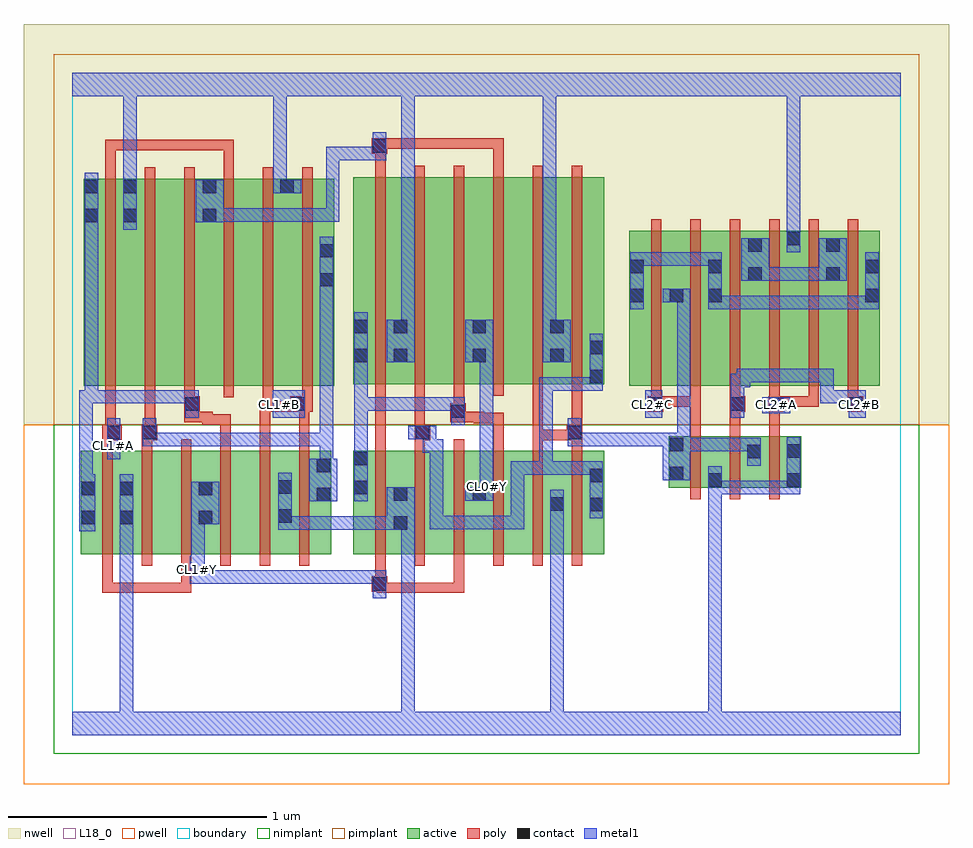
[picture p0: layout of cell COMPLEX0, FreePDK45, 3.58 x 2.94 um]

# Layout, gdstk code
import gdstk
lib = gdstk.Library(unit=1e-6, precision=1e-09)
def R(c, l, rs):  # rectangles x0, y0, x1, y1
    for r in rs: c.add(gdstk.rectangle(r[:2], r[2:], *l))
def A(c, l, x, y, w, h, nx, ny, dx, dy):  # array of equal rectangles
    R(c, l, [(x+i*dx, y+j*dy, x+i*dx+w, y+j*dy+h) for i in range(nx) for j in range(ny)])
active = (1, 0)
pwell = (2, 0)
nwell = (3, 0)
nimplant = (4, 0)
pimplant = (5, 0)
poly = (9, 0)
contact = (10, 0)
metal1 = (11, 0)
L18_0 = (18, 0)
boundary = (235, 0)

complex0 = lib.new_cell('COMPLEX0')
R(complex0, active, [(0.032,0.7,0.092,1.1), (0.032,0.7,0.24,1.1), (0.18,0.7,0.24,1.1), (0.18,0.7,0.364,1.1), (0.364,0.7,0.544,1.1), (0.484,0.7,0.668,1.1), (0.668,0.7,0.852,1.1), (0.792,0.7,1,1.1), (0.792,0.7,0.852,0.996), (1.086,0.7,1.298,1.1), (1.238,0.7,1.418,1.1), (1.238,0.7,1.298,0.962), (1.418,0.7,1.602,1.1), (1.542,0.7,1.722,1.1), (1.722,0.7,1.902,1.1), (1.842,0.7,2.054,1.1), (1.994,0.7,2.054,1.1), (0.484,0.756,0.544,1.1), (0.94,0.756,1,1.1), (1.086,0.756,1.146,1.1), (1.542,0.756,1.602,0.962), (1.842,0.756,1.902,0.924), (2.304,0.956,2.364,1.156), (2.304,0.956,2.512,1.156), (2.452,0.956,2.664,1.156), (2.452,0.956,2.512,1.016), (2.604,0.956,2.816,1.156), (2.604,0.956,2.664,1.126), (2.756,0.956,2.816,1.156), (0.044,1.35,0.104,2.15), (0.044,1.35,0.252,2.15), (0.192,1.35,0.376,2.15), (0.192,1.35,0.252,2.15), (0.376,1.35,0.56,2.15), (0.5,1.35,0.68,2.15), (0.5,1.35,0.56,2.15), (0.68,1.35,0.86,2.15), (0.8,1.35,1.012,2.15), (0.8,1.35,0.86,2.15), (0.952,1.35,1.012,2.044), (2.152,1.35,2.364,1.95), (2.152,1.35,2.212,1.95), (2.304,1.35,2.512,1.95), (2.452,1.35,2.668,1.95), (2.452,1.35,2.512,1.95), (2.608,1.35,2.816,1.95), (2.756,1.35,2.968,1.95), (2.908,1.35,3.12,1.95), (3.06,1.35,3.12,1.922), (1.086,1.356,1.146,2.044), (1.086,1.356,1.298,2.156), (1.238,1.356,1.418,2.156), (1.418,1.356,1.602,2.156), (1.542,1.356,1.602,2.044), (1.542,1.356,1.722,2.156), (1.722,1.356,1.902,2.156), (1.842,1.356,2.054,2.156), (1.994,1.356,2.054,2.044), (1.842,1.432,1.902,2.044), (1.238,1.438,1.298,2.156), (2.304,1.664,2.364,1.95), (2.608,1.74,2.668,1.95), (2.908,1.746,2.968,1.924), (2.756,1.844,2.816,1.95)])
R(complex0, pwell, [(-0.188,-0.188,3.388,1.2)])
R(complex0, nwell, [(-0.188,1.2,3.388,2.748)])
R(complex0, nimplant, [(-0.072,-0.072,3.272,1.2)])
R(complex0, pimplant, [(-0.072,1.2,3.272,2.632)])
A(complex0, poly, 0.116, 0.656, 0.04, 0.488, 6, 1, 0.152, 0)
A(complex0, poly, 1.17, 0.656, 0.04, 0.488, 6, 1, 0.152, 0)
A(complex0, poly, 2.388, 0.912, 0.04, 0.288, 3, 1, 0.152, 0)
A(complex0, poly, 2.236, 1.27, 0.04, 0.076, 6, 1, 0.152, 0)
A(complex0, poly, 0.128, 1.306, 0.04, 0.888, 6, 1, 0.152, 0)
A(complex0, poly, 2.236, 1.306, 0.04, 0.688, 6, 1, 0.152, 0)
A(complex0, poly, 1.17, 1.312, 0.04, 0.888, 6, 1, 0.152, 0)
R(complex0, poly, [(0.116,0.55,0.156,0.59), (0.116,0.55,0.156,0.696), (0.116,0.55,0.274,0.59), (0.234,0.55,0.274,0.59), (0.234,0.55,0.274,0.59), (0.234,0.55,0.274,0.59), (0.234,0.55,0.436,0.59), (0.396,0.55,0.436,0.59), (0.396,0.55,0.46,0.59), (0.42,0.55,0.46,0.59), (0.42,0.55,0.46,0.696), (1.176,0.55,1.216,0.594), (1.176,0.55,1.322,0.59), (1.282,0.55,1.322,0.59), (1.282,0.55,1.322,0.59), (1.282,0.55,1.322,0.59), (1.282,0.55,1.514,0.59), (1.474,0.55,1.514,0.59), (1.474,0.55,1.514,0.696), (1.156,0.554,1.216,0.614), (1.176,0.554,1.216,0.594), (1.17,0.574,1.21,0.696), (0.116,1.104,0.156,1.18), (0.268,1.104,0.308,1.18), (0.572,1.104,0.612,1.24), (0.724,1.104,0.764,1.29), (0.876,1.104,0.916,1.29), (1.17,1.104,1.21,1.316), (1.322,1.104,1.362,1.18), (1.626,1.104,1.666,1.246), (1.778,1.104,1.818,1.18), (1.93,1.104,1.97,1.18), (0.116,1.14,0.19,1.2), (0.268,1.14,0.328,1.2), (1.322,1.14,1.382,1.2), (1.778,1.14,1.818,1.18), (1.778,1.14,1.818,1.18), (1.778,1.14,1.818,1.18), (1.778,1.14,1.818,1.18), (1.778,1.14,1.818,1.18), (1.778,1.14,1.95,1.18), (1.778,1.14,1.818,1.352), (1.91,1.14,1.97,1.2), (0.128,1.16,0.168,1.2), (0.128,1.16,0.168,1.2), (0.128,1.16,0.168,1.346), (0.28,1.16,0.32,1.2), (0.28,1.16,0.32,1.2), (0.28,1.16,0.32,1.346), (1.322,1.16,1.362,1.2), (1.322,1.16,1.362,1.2), (1.322,1.16,1.362,1.352), (1.93,1.16,1.97,1.2), (1.93,1.16,1.97,1.2), (1.93,1.16,1.97,1.352), (2.388,1.16,2.428,1.31), (2.54,1.16,2.58,1.29), (2.692,1.16,2.732,1.29), (0.502,1.2,0.612,1.24), (0.502,1.2,0.542,1.25), (0.572,1.2,0.612,1.24), (0.572,1.2,0.612,1.24), (0.572,1.2,0.612,1.24), (1.55,1.206,1.666,1.246), (1.55,1.206,1.59,1.25), (1.626,1.206,1.666,1.246), (1.626,1.206,1.666,1.246), (1.626,1.206,1.666,1.246), (0.432,1.21,0.492,1.31), (0.452,1.21,0.542,1.25), (1.46,1.21,1.52,1.282), (1.48,1.21,1.59,1.25), (1.474,1.242,1.514,1.352), (0.724,1.25,0.776,1.29), (0.736,1.25,0.776,1.29), (0.736,1.25,0.776,1.29), (0.736,1.25,0.916,1.29), (0.736,1.25,0.776,1.346), (0.842,1.25,0.928,1.31), (0.876,1.25,0.916,1.29), (0.876,1.25,0.916,1.29), (0.876,1.25,0.916,1.29), (0.876,1.25,0.916,1.29), (2.222,1.25,2.282,1.31), (2.54,1.25,2.6,1.31), (2.54,1.25,2.58,1.29), (2.54,1.25,2.58,1.29), (2.69,1.25,2.75,1.31), (2.996,1.25,3.056,1.31), (0.432,1.27,0.472,1.346), (0.888,1.27,0.928,1.346), (2.242,1.27,2.282,1.31), (2.242,1.27,2.282,1.31), (2.242,1.27,2.428,1.31), (2.388,1.27,2.428,1.31), (2.388,1.27,2.428,1.31), (2.388,1.27,2.428,1.31), (2.692,1.27,2.732,1.31), (2.692,1.27,2.732,1.31), (2.692,1.27,2.884,1.31), (2.844,1.27,2.884,1.31), (2.844,1.27,2.884,1.31), (2.844,1.27,2.884,1.31), (1.17,1.276,1.21,1.352), (1.17,1.276,1.21,1.316), (1.17,1.276,1.21,1.316), (1.17,1.276,1.21,1.316), (0.128,2.154,0.168,2.3), (0.584,2.154,0.624,2.3), (1.17,2.16,1.21,2.286), (1.626,2.16,1.666,2.306), (1.156,2.246,1.216,2.306), (0.128,2.26,0.168,2.3), (0.128,2.26,0.274,2.3), (0.234,2.26,0.274,2.3), (0.234,2.26,0.274,2.3), (0.234,2.26,0.274,2.3), (0.234,2.26,0.436,2.3), (0.396,2.26,0.436,2.3), (0.396,2.26,0.436,2.3), (0.396,2.26,0.436,2.3), (0.396,2.26,0.624,2.3), (0.584,2.26,0.624,2.3), (0.584,2.26,0.624,2.3), (0.584,2.26,0.624,2.3), (1.176,2.266,1.216,2.306), (1.176,2.266,1.216,2.306), (1.176,2.266,1.322,2.306), (1.282,2.266,1.322,2.306), (1.282,2.266,1.322,2.306), (1.282,2.266,1.322,2.306), (1.282,2.266,1.5,2.306), (1.46,2.266,1.5,2.306), (1.46,2.266,1.666,2.306), (1.626,2.266,1.666,2.306), (1.626,2.266,1.666,2.306), (1.626,2.266,1.666,2.306)])
R(complex0, contact, [(1.16,0.558,1.212,0.61), (1.242,0.794,1.294,0.846), (0.036,0.816,0.088,0.868), (0.184,0.816,0.236,0.868), (0.488,0.816,0.54,0.868), (0.796,0.822,0.848,0.874), (1.998,0.866,2.05,0.918), (1.846,0.868,1.898,0.92), (0.944,0.904,0.996,0.956), (1.242,0.906,1.294,0.958), (1.546,0.906,1.598,0.958), (0.036,0.928,0.088,0.98), (0.184,0.928,0.236,0.98), (0.488,0.928,0.54,0.98), (1.09,0.932,1.142,0.984), (0.796,0.934,0.848,0.986), (2.456,0.96,2.508,1.012), (2.76,0.96,2.812,1.012), (1.998,0.978,2.05,1.03), (2.308,0.986,2.36,1.038), (0.944,1.016,0.996,1.068), (1.09,1.044,1.142,1.096), (2.608,1.07,2.66,1.122), (2.76,1.072,2.812,1.124), (2.308,1.098,2.36,1.15), (0.134,1.144,0.186,1.196), (0.272,1.144,0.324,1.196), (1.326,1.144,1.378,1.196), (1.914,1.144,1.966,1.196), (1.464,1.226,1.516,1.278), (0.436,1.254,0.488,1.306), (0.846,1.254,0.898,1.306), (2.226,1.254,2.278,1.306), (2.544,1.254,2.596,1.306), (2.694,1.254,2.746,1.306), (3,1.254,3.052,1.306), (1.998,1.36,2.05,1.412), (1.09,1.442,1.142,1.494), (1.242,1.442,1.294,1.494), (1.546,1.442,1.598,1.494), (1.846,1.442,1.898,1.494), (1.998,1.472,2.05,1.524), (1.09,1.554,1.142,1.606), (1.242,1.554,1.294,1.606), (1.546,1.554,1.598,1.606), (1.846,1.554,1.898,1.606), (2.156,1.674,2.208,1.726), (2.308,1.674,2.36,1.726), (2.456,1.674,2.508,1.726), (3.064,1.674,3.116,1.726), (0.956,1.734,1.008,1.786), (2.612,1.756,2.664,1.808), (2.912,1.756,2.964,1.808), (2.156,1.786,2.208,1.838), (2.456,1.786,2.508,1.838), (3.064,1.786,3.116,1.838), (0.956,1.846,1.008,1.898), (2.612,1.868,2.664,1.92), (2.912,1.868,2.964,1.92), (2.76,1.894,2.812,1.946), (0.048,1.982,0.1,2.034), (0.196,1.982,0.248,2.034), (0.504,1.982,0.556,2.034), (0.048,2.094,0.1,2.146), (0.196,2.094,0.248,2.146), (0.504,2.094,0.556,2.146), (0.804,2.094,0.856,2.146), (1.16,2.25,1.212,2.302)])
R(complex0, metal1, [(0,0,3.2,0.092), (0.184,0.04,0.236,0.092), (0.184,0.04,0.236,0.092), (0.184,0.04,0.236,0.092), (0.184,0.04,0.236,0.092), (0.184,0.04,0.236,0.092), (0.184,0.04,0.236,0.092), (0.184,0.04,0.236,0.092), (0.184,0.04,0.236,0.092), (0.184,0.04,0.236,0.092), (0.184,0.04,0.236,0.092), (0.184,0.04,0.236,0.84), (1.27,0.04,1.322,0.092), (1.27,0.04,1.322,0.092), (1.27,0.04,1.322,0.092), (1.27,0.04,1.322,0.092), (1.27,0.04,1.322,0.846), (1.846,0.04,1.898,0.092), (1.846,0.04,1.898,0.092), (1.846,0.04,1.898,0.892), (2.456,0.04,2.508,0.092), (2.456,0.04,2.508,0.092), (2.456,0.04,2.508,0.984), (1.16,0.53,1.212,0.638), (0.454,0.586,0.512,0.694), (0.46,0.586,0.544,0.638), (0.492,0.586,0.544,0.638), (0.492,0.586,0.716,0.638), (0.664,0.586,0.716,0.638), (0.664,0.586,0.716,0.638), (0.664,0.586,0.716,0.638), (0.664,0.586,0.826,0.638), (0.774,0.586,0.826,0.638), (0.774,0.586,0.826,0.638), (0.774,0.586,0.826,0.638), (0.774,0.586,1.032,0.638), (0.98,0.586,1.032,0.638), (0.98,0.586,1.032,0.638), (0.98,0.586,1.032,0.638), (0.98,0.586,1.212,0.638), (0.46,0.642,0.512,0.868), (0.026,0.788,0.088,1.008), (0.184,0.788,0.236,0.84), (0.184,0.788,0.236,0.84), (0.184,0.788,0.236,1.008), (0.796,0.794,0.848,0.846), (0.796,0.794,0.848,0.846), (0.796,0.794,0.848,1.014), (0.796,0.794,1.032,0.846), (0.98,0.794,1.032,0.846), (0.98,0.794,1.156,0.846), (1.104,0.794,1.156,0.846), (1.104,0.794,1.156,0.846), (1.104,0.794,1.156,0.846), (1.104,0.794,1.266,0.846), (1.214,0.794,1.322,0.958), (1.27,0.794,1.322,0.846), (1.27,0.794,1.322,0.846), (1.27,0.794,1.322,0.846), (1.27,0.794,1.322,0.846), (1.27,0.794,1.322,0.846), (1.27,0.794,1.322,0.846), (1.27,0.794,1.322,0.846), (1.27,0.794,1.322,0.846), (1.38,0.796,1.432,0.848), (1.38,0.796,1.542,0.848), (1.38,0.796,1.432,1.144), (1.49,0.796,1.542,0.848), (1.49,0.796,1.542,0.848), (1.49,0.796,1.542,0.848), (1.49,0.796,1.746,0.848), (1.694,0.796,1.746,0.848), (1.694,0.796,1.746,0.848), (1.694,0.796,1.746,0.848), (1.694,0.796,1.746,1.058), (0.46,0.816,0.568,0.98), (1.998,0.838,2.05,1.058), (1.846,0.84,1.898,0.892), (1.846,0.84,1.898,0.892), (1.846,0.84,1.898,0.892), (1.846,0.84,1.898,0.892), (1.846,0.84,1.898,0.892), (1.846,0.84,1.898,0.892), (1.846,0.84,1.898,0.892), (1.846,0.84,1.898,0.892), (1.846,0.84,1.898,0.892), (1.846,0.84,1.898,0.892), (1.846,0.84,1.898,0.948), (0.916,0.904,1.024,1.068), (1.09,0.904,1.142,1.124), (1.518,0.906,1.626,0.958), (1.574,0.906,1.626,0.958), (1.574,0.906,1.626,1.014), (2.456,0.932,2.508,0.984), (2.456,0.932,2.508,0.984), (2.456,0.932,2.508,0.984), (2.456,0.932,2.508,0.984), (2.456,0.932,2.508,0.984), (2.456,0.932,2.508,0.984), (2.456,0.932,2.508,0.984), (2.456,0.932,2.508,0.984), (2.456,0.932,2.508,0.984), (2.456,0.932,2.508,0.984), (2.456,0.932,2.508,0.984), (2.456,0.932,2.508,0.984), (2.456,0.932,2.508,0.984), (2.456,0.932,2.508,0.984), (2.456,0.932,2.508,0.984), (2.456,0.932,2.508,0.984), (2.456,0.932,2.508,1.04), (2.456,0.932,2.702,0.984), (2.65,0.932,2.702,0.984), (2.65,0.932,2.812,0.984), (2.76,0.932,2.812,0.984), (2.76,0.932,2.812,0.984), (2.76,0.932,2.812,1.152), (0.026,0.956,0.078,1.334), (1.574,0.962,1.626,1.014), (1.574,0.962,1.626,1.014), (1.574,0.962,1.626,1.494), (2.28,0.986,2.388,1.15), (1.694,1.006,1.746,1.058), (1.694,1.006,1.856,1.058), (1.804,1.006,1.856,1.058), (1.804,1.006,1.856,1.058), (1.804,1.006,1.856,1.058), (1.804,1.006,1.856,1.058), (1.804,1.006,1.856,1.058), (1.804,1.006,2.05,1.058), (1.804,1.006,1.856,1.384), (1.998,1.006,2.05,1.058), (1.998,1.006,2.05,1.058), (0.956,1.016,1.008,1.168), (2.608,1.042,2.66,1.15), (0.134,1.066,0.186,1.224), (1.09,1.072,1.142,1.306), (1.354,1.092,1.406,1.196), (1.354,1.092,1.432,1.144), (2.336,1.098,2.388,1.15), (2.336,1.098,2.388,1.15), (2.336,1.098,2.508,1.15), (2.336,1.098,2.388,1.168), (2.456,1.098,2.508,1.15), (2.456,1.098,2.508,1.15), (2.456,1.098,2.508,1.15), (2.456,1.098,2.66,1.15), (0.272,1.116,0.324,1.168), (0.272,1.116,0.324,1.168), (0.272,1.116,0.434,1.168), (0.272,1.116,0.324,1.224), (0.382,1.116,0.434,1.168), (0.382,1.116,0.434,1.168), (0.382,1.116,0.434,1.168), (0.382,1.116,0.544,1.168), (0.492,1.116,0.544,1.168), (0.492,1.116,0.694,1.168), (0.642,1.116,0.694,1.168), (0.642,1.116,0.694,1.168), (0.642,1.116,0.694,1.168), (0.642,1.116,0.826,1.168), (0.774,1.116,0.826,1.168), (0.774,1.116,0.826,1.168), (0.774,1.116,0.826,1.168), (0.774,1.116,1.008,1.168), (0.956,1.116,1.008,1.168), (0.956,1.116,1.008,1.758), (1.914,1.116,1.966,1.168), (1.914,1.116,1.966,1.168), (1.914,1.116,1.966,1.224), (1.914,1.116,2.222,1.168), (2.17,1.116,2.222,1.168), (2.17,1.116,2.222,1.168), (2.17,1.116,2.222,1.168), (2.17,1.116,2.388,1.168), (2.336,1.116,2.388,1.168), (2.336,1.116,2.388,1.726), (1.298,1.144,1.406,1.196), (1.354,1.144,1.406,1.196), (1.354,1.144,1.406,1.196), (1.464,1.198,1.516,1.306), (0.436,1.226,0.488,1.334), (0.774,1.226,0.898,1.334), (2.214,1.226,2.278,1.334), (2.544,1.226,2.596,1.396), (3,1.226,3.066,1.334), (2.666,1.244,2.774,1.306), (1.09,1.254,1.142,1.306), (1.09,1.254,1.142,1.306), (1.09,1.254,1.142,1.306), (1.09,1.254,1.142,1.306), (1.09,1.254,1.142,1.306), (1.09,1.254,1.296,1.306), (1.09,1.254,1.142,1.466), (1.244,1.254,1.296,1.306), (1.244,1.254,1.406,1.306), (1.354,1.254,1.406,1.306), (1.354,1.254,1.406,1.306), (1.354,1.254,1.406,1.306), (1.354,1.254,1.516,1.306), (0.026,1.282,0.078,1.334), (0.026,1.282,0.078,1.334), (0.026,1.282,0.1,1.334), (0.048,1.282,0.1,1.334), (0.048,1.282,0.1,1.334), (0.048,1.282,0.21,1.334), (0.048,1.282,0.1,2.006), (0.158,1.282,0.21,1.334), (0.158,1.282,0.21,1.334), (0.158,1.282,0.21,1.334), (0.158,1.282,0.324,1.334), (0.272,1.282,0.324,1.334), (0.272,1.282,0.488,1.334), (2.89,1.282,3.052,1.334), (2.89,1.282,2.942,1.416), (1.804,1.332,1.856,1.384), (1.804,1.332,1.856,1.384), (1.804,1.332,1.856,1.384), (1.804,1.332,2.05,1.384), (1.998,1.332,2.05,1.384), (1.998,1.332,2.05,1.384), (1.998,1.332,2.05,1.552), (2.544,1.344,2.618,1.396), (2.566,1.344,2.618,1.416), (2.566,1.364,2.826,1.416), (2.774,1.364,2.826,1.416), (2.774,1.364,2.826,1.416), (2.774,1.364,2.826,1.416), (2.774,1.364,2.942,1.416), (2.89,1.364,2.942,1.416), (2.89,1.364,2.942,1.416), (1.09,1.414,1.142,1.634), (1.214,1.442,1.322,1.606), (1.518,1.442,1.626,1.606), (1.818,1.442,1.926,1.606), (1.27,1.554,1.322,1.606), (1.27,1.554,1.322,1.606), (1.27,1.554,1.322,1.606), (1.27,1.554,1.322,1.606), (1.27,1.554,1.322,1.606), (1.27,1.554,1.322,1.606), (1.27,1.554,1.322,1.606), (1.27,1.554,1.322,1.606), (1.27,1.554,1.322,2.52), (1.818,1.554,1.87,1.606), (1.818,1.554,1.87,1.606), (1.818,1.554,1.87,1.606), (1.818,1.554,1.87,1.606), (1.818,1.554,1.87,2.52), (2.156,1.646,2.208,1.866), (2.456,1.646,2.508,1.698), (2.456,1.646,2.508,1.698), (2.456,1.646,2.508,1.698), (2.456,1.646,2.508,1.698), (2.456,1.646,2.508,1.866), (2.456,1.646,2.702,1.698), (2.65,1.646,2.702,1.698), (2.65,1.646,2.826,1.698), (2.774,1.646,2.826,1.698), (2.774,1.646,2.826,1.698), (2.774,1.646,2.826,1.698), (2.774,1.646,2.942,1.698), (2.89,1.646,2.942,1.698), (2.89,1.646,2.942,1.698), (2.89,1.646,2.942,1.698), (2.89,1.646,3.116,1.698), (3.064,1.646,3.116,1.698), (3.064,1.646,3.116,1.698), (3.064,1.646,3.116,1.866), (2.28,1.674,2.388,1.726), (2.336,1.674,2.388,1.726), (2.336,1.674,2.388,1.726), (0.956,1.706,1.008,1.758), (0.956,1.706,1.008,1.758), (0.956,1.706,1.008,1.926), (2.584,1.756,2.692,1.92), (2.64,1.756,2.826,1.808), (2.774,1.756,2.826,1.808), (2.774,1.756,2.826,1.808), (2.774,1.756,2.826,1.808), (2.774,1.756,2.936,1.808), (2.884,1.756,2.936,1.808), (2.884,1.756,2.936,1.808), (2.884,1.756,2.992,1.92), (2.156,1.814,2.208,1.866), (2.156,1.814,2.208,1.866), (2.156,1.814,2.388,1.866), (2.336,1.814,2.388,1.866), (2.336,1.814,2.388,1.866), (2.336,1.814,2.388,1.866), (2.336,1.814,2.508,1.866), (2.76,1.866,2.812,1.974), (2.76,1.922,2.812,2.52), (0.048,1.954,0.1,2.174), (0.196,1.954,0.248,2.174), (0.476,1.982,0.584,2.146), (0.532,1.984,0.584,2.036), (0.532,1.984,0.584,2.036), (0.532,1.984,0.694,2.036), (0.642,1.984,0.694,2.036), (0.642,1.984,0.694,2.036), (0.642,1.984,0.694,2.036), (0.642,1.984,0.826,2.036), (0.774,1.984,0.826,2.036), (0.774,1.984,0.826,2.036), (0.774,1.984,0.826,2.036), (0.774,1.984,1.032,2.036), (0.98,1.984,1.032,2.036), (0.98,1.984,1.032,2.036), (0.98,1.984,1.032,2.036), (0.98,1.984,1.032,2.036), (0.98,1.984,1.032,2.036), (0.98,1.984,1.032,2.274), (0.776,2.094,0.884,2.146), (0.776,2.094,0.828,2.52), (0.196,2.122,0.248,2.52), (0.98,2.222,1.032,2.274), (0.98,2.222,1.212,2.274), (1.16,2.222,1.212,2.33), (0,2.468,3.2,2.56), (0.196,2.468,0.248,2.52), (0.196,2.468,0.248,2.52), (0.196,2.468,0.248,2.52), (0.196,2.468,0.248,2.52), (0.196,2.468,0.248,2.52), (0.196,2.468,0.248,2.52), (0.196,2.468,0.248,2.52), (0.196,2.468,0.248,2.52), (0.776,2.468,0.828,2.52), (0.776,2.468,0.828,2.52), (0.776,2.468,0.828,2.52), (0.776,2.468,0.828,2.52), (0.776,2.468,0.828,2.52), (0.776,2.468,0.828,2.52), (0.776,2.468,0.828,2.52), (0.776,2.468,0.828,2.52), (1.818,2.468,1.87,2.52), (1.818,2.468,1.87,2.52), (1.818,2.468,1.87,2.52), (1.818,2.468,1.87,2.52), (2.76,2.468,2.812,2.52), (2.76,2.468,2.812,2.52), (2.76,2.468,2.812,2.52), (2.76,2.468,2.812,2.52), (2.76,2.468,2.812,2.52), (2.76,2.468,2.812,2.52), (2.76,2.468,2.812,2.52), (2.76,2.468,2.812,2.52), (2.76,2.468,2.812,2.52), (2.76,2.468,2.812,2.52), (2.76,2.468,2.812,2.52), (2.76,2.468,2.812,2.52)])
A(complex0, L18_0, 1.574, 0.906, 0.052, 0.052, 1, 3, 0, 0.028)
R(complex0, L18_0, [(0,0,3.2,0.092), (0.184,0.04,0.236,0.092), (0.184,0.04,0.236,0.092), (0.184,0.04,0.236,0.092), (0.184,0.04,0.236,0.092), (0.184,0.04,0.236,0.092), (0.184,0.04,0.236,0.092), (0.184,0.04,0.236,0.092), (0.184,0.04,0.236,0.092), (0.184,0.04,0.236,0.092), (0.184,0.04,0.236,0.092), (0.184,0.04,0.236,0.84), (1.27,0.04,1.322,0.092), (1.27,0.04,1.322,0.092), (1.27,0.04,1.322,0.092), (1.27,0.04,1.322,0.092), (1.27,0.04,1.322,0.846), (1.846,0.04,1.898,0.092), (1.846,0.04,1.898,0.092), (1.846,0.04,1.898,0.892), (2.456,0.04,2.508,0.092), (2.456,0.04,2.508,0.092), (2.456,0.04,2.508,0.984), (1.16,0.53,1.212,0.638), (0.454,0.586,0.512,0.694), (0.46,0.586,0.544,0.638), (0.492,0.586,0.544,0.638), (0.492,0.586,0.716,0.638), (0.664,0.586,0.716,0.638), (0.664,0.586,0.716,0.638), (0.664,0.586,0.716,0.638), (0.664,0.586,0.826,0.638), (0.774,0.586,0.826,0.638), (0.774,0.586,0.826,0.638), (0.774,0.586,0.826,0.638), (0.774,0.586,1.032,0.638), (0.98,0.586,1.032,0.638), (0.98,0.586,1.032,0.638), (0.98,0.586,1.032,0.638), (0.98,0.586,1.212,0.638), (0.454,0.614,0.506,0.666), (0.46,0.642,0.512,0.868), (0.184,0.788,0.236,0.84), (0.184,0.788,0.236,0.84), (0.184,0.788,0.236,1.008), (0.796,0.794,0.848,0.846), (0.796,0.794,0.848,0.846), (0.796,0.794,0.848,1.014), (0.796,0.794,1.032,0.846), (0.98,0.794,1.032,0.846), (0.98,0.794,1.156,0.846), (1.104,0.794,1.156,0.846), (1.104,0.794,1.156,0.846), (1.104,0.794,1.156,0.846), (1.104,0.794,1.266,0.846), (1.214,0.794,1.322,0.958), (1.27,0.794,1.322,0.846), (1.27,0.794,1.322,0.846), (1.27,0.794,1.322,0.846), (1.27,0.794,1.322,0.846), (1.27,0.794,1.322,0.846), (1.27,0.794,1.322,0.846), (1.27,0.794,1.322,0.846), (1.27,0.794,1.322,0.846), (0.46,0.816,0.568,0.98), (1.846,0.84,1.898,0.892), (1.846,0.84,1.898,0.892), (1.846,0.84,1.898,0.892), (1.846,0.84,1.898,0.892), (1.846,0.84,1.898,0.892), (1.846,0.84,1.898,0.892), (1.846,0.84,1.898,0.892), (1.846,0.84,1.898,0.892), (1.846,0.84,1.898,0.892), (1.846,0.84,1.898,0.892), (1.846,0.84,1.898,0.948), (1.518,0.906,1.626,0.958), (1.574,0.906,1.626,1.014), (2.456,0.932,2.508,0.984), (2.456,0.932,2.508,0.984), (2.456,0.932,2.508,0.984), (2.456,0.932,2.508,0.984), (2.456,0.932,2.508,0.984), (2.456,0.932,2.508,0.984), (2.456,0.932,2.508,0.984), (2.456,0.932,2.508,0.984), (2.456,0.932,2.508,0.984), (2.456,0.932,2.508,0.984), (2.456,0.932,2.508,0.984), (2.456,0.932,2.508,0.984), (2.456,0.932,2.508,0.984), (2.456,0.932,2.508,0.984), (2.456,0.932,2.508,0.984), (2.456,0.932,2.508,0.984), (2.456,0.932,2.508,1.04), (2.456,0.932,2.702,0.984), (2.65,0.932,2.702,0.984), (2.65,0.932,2.812,0.984), (2.76,0.932,2.812,0.984), (2.76,0.932,2.812,0.984), (2.76,0.932,2.812,1.152), (1.574,0.962,1.626,1.014), (1.574,0.962,1.626,1.494), (0.134,1.066,0.186,1.224), (0.134,1.094,0.186,1.146), (0.774,1.226,0.898,1.334), (2.214,1.226,2.278,1.334), (2.544,1.226,2.596,1.396), (3,1.226,3.066,1.334), (2.666,1.244,2.774,1.306), (0.774,1.254,0.826,1.306), (2.214,1.254,2.266,1.306), (2.694,1.254,2.746,1.306), (3.014,1.254,3.066,1.306), (2.89,1.282,3.052,1.334), (2.89,1.282,2.942,1.416), (2.544,1.344,2.618,1.396), (2.566,1.344,2.618,1.416), (2.566,1.364,2.826,1.416), (2.774,1.364,2.826,1.416), (2.774,1.364,2.826,1.416), (2.774,1.364,2.826,1.416), (2.774,1.364,2.942,1.416), (2.89,1.364,2.942,1.416), (2.89,1.364,2.942,1.416), (1.214,1.442,1.322,1.606), (1.518,1.442,1.626,1.606), (1.818,1.442,1.926,1.606), (1.27,1.554,1.322,1.606), (1.27,1.554,1.322,1.606), (1.27,1.554,1.322,1.606), (1.27,1.554,1.322,1.606), (1.27,1.554,1.322,1.606), (1.27,1.554,1.322,1.606), (1.27,1.554,1.322,1.606), (1.27,1.554,1.322,1.606), (1.27,1.554,1.322,2.52), (1.818,1.554,1.87,1.606), (1.818,1.554,1.87,1.606), (1.818,1.554,1.87,1.606), (1.818,1.554,1.87,1.606), (1.818,1.554,1.87,2.52), (2.76,1.866,2.812,1.974), (2.76,1.922,2.812,2.52), (0.196,1.954,0.248,2.174), (0.476,1.982,0.584,2.146), (0.532,1.984,0.584,2.036), (0.532,1.984,0.584,2.036), (0.532,1.984,0.694,2.036), (0.642,1.984,0.694,2.036), (0.642,1.984,0.694,2.036), (0.642,1.984,0.694,2.036), (0.642,1.984,0.826,2.036), (0.774,1.984,0.826,2.036), (0.774,1.984,0.826,2.036), (0.774,1.984,0.826,2.036), (0.774,1.984,1.032,2.036), (0.98,1.984,1.032,2.036), (0.98,1.984,1.032,2.036), (0.98,1.984,1.032,2.036), (0.98,1.984,1.032,2.036), (0.98,1.984,1.032,2.036), (0.98,1.984,1.032,2.274), (0.776,2.094,0.884,2.146), (0.776,2.094,0.828,2.52), (0.196,2.122,0.248,2.52), (0.98,2.222,1.032,2.274), (0.98,2.222,1.212,2.274), (1.16,2.222,1.212,2.33), (0,2.468,3.2,2.56), (0.196,2.468,0.248,2.52), (0.196,2.468,0.248,2.52), (0.196,2.468,0.248,2.52), (0.196,2.468,0.248,2.52), (0.196,2.468,0.248,2.52), (0.196,2.468,0.248,2.52), (0.196,2.468,0.248,2.52), (0.196,2.468,0.248,2.52), (0.776,2.468,0.828,2.52), (0.776,2.468,0.828,2.52), (0.776,2.468,0.828,2.52), (0.776,2.468,0.828,2.52), (0.776,2.468,0.828,2.52), (0.776,2.468,0.828,2.52), (0.776,2.468,0.828,2.52), (0.776,2.468,0.828,2.52), (1.818,2.468,1.87,2.52), (1.818,2.468,1.87,2.52), (1.818,2.468,1.87,2.52), (1.818,2.468,1.87,2.52), (2.76,2.468,2.812,2.52), (2.76,2.468,2.812,2.52), (2.76,2.468,2.812,2.52), (2.76,2.468,2.812,2.52), (2.76,2.468,2.812,2.52), (2.76,2.468,2.812,2.52), (2.76,2.468,2.812,2.52), (2.76,2.468,2.812,2.52), (2.76,2.468,2.812,2.52), (2.76,2.468,2.812,2.52), (2.76,2.468,2.812,2.52), (2.76,2.468,2.812,2.52)])
R(complex0, boundary, [(0,0,3.2,2.56)])
complex0.add(gdstk.Label('CL0#Y', (1.6,0.96), layer=11, texttype=0))
complex0.add(gdstk.Label('CL1#A', (0.16,1.12), layer=11, texttype=0))
complex0.add(gdstk.Label('CL1#B', (0.8,1.28), layer=11, texttype=0))
complex0.add(gdstk.Label('CL1#Y', (0.48,0.64), layer=11, texttype=0))
complex0.add(gdstk.Label('CL2#A', (2.72,1.28), layer=11, texttype=0))
complex0.add(gdstk.Label('CL2#B', (3.04,1.28), layer=11, texttype=0))
complex0.add(gdstk.Label('CL2#C', (2.24,1.28), layer=11, texttype=0))

lib.write_gds('COMPLEX0.gds')
